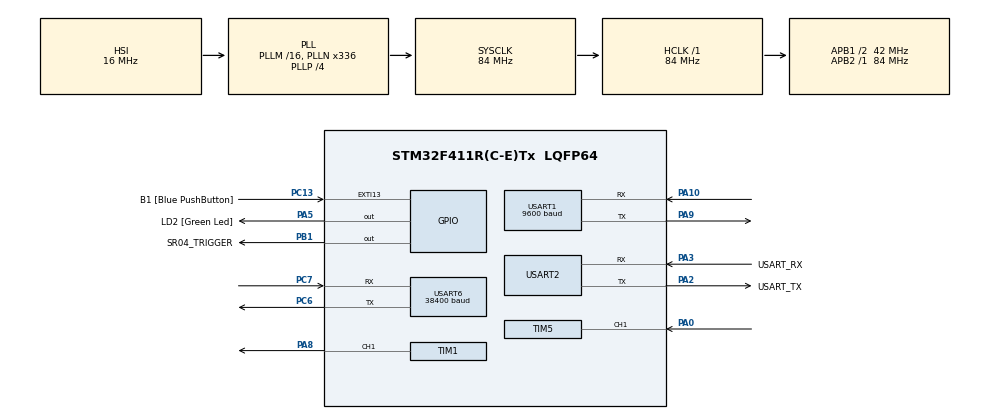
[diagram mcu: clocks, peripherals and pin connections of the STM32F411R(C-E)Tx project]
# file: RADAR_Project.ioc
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FREERTOS.Tasks01=oledTask,8,128,StartDefaultTask,Default,NULL,Dynamic,NULL,NULL;servoTask,40,1024,StartTask02,Default,NULL,Dynamic,NULL,NULL;btTask,24,128,StartTask03,Default,NULL,Dynamic,NULL,NULL
FREERTOS.configUSE_NEWLIB_REENTRANT=1
Mcu.Family=STM32F4
Mcu.Name=STM32F411R(C-E)Tx
Mcu.Package=LQFP64
NVIC.PriorityGroup=NVIC_PRIORITYGROUP_4
NVIC.TIM2_IRQn=true\:15\:0\:false\:false\:true\:false\:false\:true\:true
NVIC.TIM5_IRQn=true\:5\:0\:false\:false\:true\:true\:true\:true\:true
NVIC.TimeBase=TIM2_IRQn
NVIC.TimeBaseIP=TIM2
NVIC.USART1_IRQn=true\:5\:0\:false\:false\:true\:true\:true\:true\:true
NVIC.USART6_IRQn=true\:5\:0\:false\:false\:true\:true\:true\:true\:true
PA0-WKUP.GPIO_PuPd=GPIO_PULLDOWN
PA0-WKUP.Signal=S_TIM5_CH1
PA10.Mode=Asynchronous
PA10.Signal=USART1_RX
PA13.GPIO_Label=TMS
PA13.Mode=Serial_Wire
PA13.Signal=SYS_JTMS-SWDIO
PA14.GPIO_Label=TCK
PA14.Mode=Serial_Wire
PA14.Signal=SYS_JTCK-SWCLK
PA2.GPIO_Label=USART_TX
PA2.Mode=Asynchronous
PA2.Signal=USART2_TX
PA3.GPIO_Label=USART_RX
PA3.Mode=Asynchronous
PA3.Signal=USART2_RX
PA5.GPIO_Label=LD2 [Green Led]
PA5.Signal=GPIO_Output
PA8.Signal=S_TIM1_CH1
PA9.Mode=Asynchronous
PA9.Signal=USART1_TX
PB1.GPIO_Label=SR04_TRIGGER
PB1.Signal=GPIO_Output
PB3.GPIO_Label=SWO
PB3.Signal=SYS_JTDO-SWO
PC13-ANTI_TAMP.GPIO_Label=B1 [Blue PushButton]
PC13-ANTI_TAMP.GPIO_ModeDefaultEXTI=GPIO_MODE_IT_FALLING
PC13-ANTI_TAMP.Signal=GPXTI13
PC14-OSC32_IN.Mode=LSE-External-Oscillator
PC14-OSC32_IN.Signal=RCC_OSC32_IN
PC15-OSC32_OUT.Mode=LSE-External-Oscillator
PC15-OSC32_OUT.Signal=RCC_OSC32_OUT
PC6.Mode=Asynchronous
PC6.Signal=USART6_TX
PC7.Mode=Asynchronous
PC7.Signal=USART6_RX
PH0\ -\ OSC_IN.Mode=HSE-External-Clock-Source
PH0\ -\ OSC_IN.Signal=RCC_OSC_IN
PH1\ -\ OSC_OUT.Mode=HSE-External-Clock-Source
PH1\ -\ OSC_OUT.Signal=RCC_OSC_OUT
ProjectManager.HeapSize=0x200
ProjectManager.StackSize=0x400
ProjectManager.TargetToolchain=STM32CubeIDE
RCC.48MHZClocksFreq_Value=84000000
RCC.AHBFreq_Value=84000000
RCC.APB1CLKDivider=RCC_HCLK_DIV2
RCC.APB1Freq_Value=42000000
RCC.APB1TimFreq_Value=84000000
RCC.APB2Freq_Value=84000000
RCC.APB2TimFreq_Value=84000000
RCC.CortexFreq_Value=84000000
RCC.FLatency-AdvancedSettings=FLASH_LATENCY_2
RCC.HCLKFreq_Value=84000000
RCC.HSE_VALUE=8000000
RCC.HSI_VALUE=16000000
RCC.PLLN=336
RCC.PLLP=RCC_PLLP_DIV4
RCC.SYSCLKFreq_VALUE=84000000
RCC.SYSCLKSource=RCC_SYSCLKSOURCE_PLLCLK
RCC.VCOOutputFreq_Value=336000000
SH.S_TIM1_CH1.0=TIM1_CH1,PWM Generation1 CH1
SH.S_TIM5_CH1.0=TIM5_CH1,Input_Capture1_from_TI1
TIM1.AutoReloadPreload=TIM_AUTORELOAD_PRELOAD_ENABLE
TIM1.Channel-PWM\ Generation1\ CH1=TIM_CHANNEL_1
TIM1.Period=19999
TIM1.Prescaler=83
TIM5.Channel-Input_Capture1_from_TI1=TIM_CHANNEL_1
TIM5.Channel-Input_Capture2_from_TI1_63=TIM_CHANNEL_2
TIM5.ICFilter_CH1=8
TIM5.ICPolarity_CH2=TIM_INPUTCHANNELPOLARITY_FALLING
TIM5.Prescaler=83
USART1.BaudRate=9600
USART1.VirtualMode=VM_ASYNC
USART2.VirtualMode=VM_ASYNC
USART6.BaudRate=38400
USART6.VirtualMode=VM_ASYNC
VP_FREERTOS_VS_CMSIS_V2.Mode=CMSIS_V2
VP_SYS_VS_tim2.Mode=TIM2
VP_TIM5_VS_indirect_ch1.Mode=Input_Capture2_from_TI1_63
board=NUCLEO-F411RE

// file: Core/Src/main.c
/* USER CODE BEGIN Header */
/**
 ******************************************************************************
 * @file           : main.c
 * @brief          : Main program body
 ******************************************************************************
 * @attention
 *
 * Copyright (c) 2025 STMicroelectronics.
 * All rights reserved.
 *
 * This software is licensed under terms that can be found in the LICENSE file
 * in the root directory of this software component.
 * If no LICENSE file comes with this software, it is provided AS-IS.
 *
 ******************************************************************************
 */
/* USER CODE END Header */
#include "main.h"
#include "cmsis_os.h"

/* USER CODE BEGIN Includes */
#include <stdio.h>
#include <math.h>
#include <string.h>
#include <stdarg.h>
#include "esp.h"

/* USER CODE END Includes */

/* USER CODE BEGIN PTD */
extern TIM_HandleTypeDef htim1;
#ifdef __GNUC__
/* With GCC, small printf (option LD Linker->Libraries->Small printf
   set to 'Yes') calls __io_putchar() */
#define PUTCHAR_PROTOTYPE int __io_putchar(int ch)
#else
#define PUTCHAR_PROTOTYPE int fputc(int ch, FILE *f)
#endif /* __GNUC__ */
#define ARR_CNT 5
#define CMD_SIZE 50
/* USER CODE END PTD */

/* USER CODE BEGIN PD */

/*디버그 모드*/
#define DEBUG_MODE 1

/*파이*/
#define PI 3.14159

/*서보모터 관련 설정*/

	//서보모터 각도 MIN, MAX값
#define SERVO_MIN 500
#define SERVO_MAX 2500

	//몇 도씩 스캔을 할 것인지
#define SCAN_DGREE 10

/*SR04 관련 설정*/

	//SR04관련 필터
#define SR04_TIMEOUT 100 //SR04 무응답 타임아웃 (단위 ms)
#define SR04_MAX_US_HW 25000 //초음파 돌아오는 시간의 최대값
#define SR04_MIN_US 120 //초음파 돌아오는 시간의 최솟값

	//각도당 스캔을 몇 번 할지
#define SCAN_CNT 5

	//탐색 모드에서 얼마나 탐색하고 지형지물을 업데이트 할지(숫자만큼 스캔하고 다시 지형지물 업데이트)
#define SCAN_TICK 5

	//몇 cm 까지 스캔 할 것인지
#define MAX_SCAN_CM 200

/* USER CODE END PD */

TIM_HandleTypeDef htim1;
TIM_HandleTypeDef htim5;

UART_HandleTypeDef huart1;
UART_HandleTypeDef huart2;
UART_HandleTypeDef huart6;

/* Definitions for oledTask */
osThreadId_t oledTaskHandle;
const osThreadAttr_t oledTask_attributes = {
  .name = "oledTask",
  .stack_size = 128 * 4,
  .priority = (osPriority_t) osPriorityLow,
};
/* Definitions for servoTask */
osThreadId_t servoTaskHandle;
const osThreadAttr_t servoTask_attributes = {
  .name = "servoTask",
  .stack_size = 1024 * 4,
  .priority = (osPriority_t) osPriorityHigh,
};
/* Definitions for btTask */
osThreadId_t btTaskHandle;
const osThreadAttr_t btTask_attributes = {
  .name = "btTask",
  .stack_size = 128 * 4,
  .priority = (osPriority_t) osPriorityNormal,
};
/* USER CODE BEGIN PV */
volatile uint8_t sr04_state = 0;
volatile uint32_t ic_rising, ic_falling = 0;

typedef struct{
	double x;
	double y;
}Pos;

//모터의 각도
int degree = 0;
//측정한 거리
double distance = -1.0;
//계산한 각도
Pos pos;

uint8_t find_flag = 0;

//스캔 모드
typedef enum{
	get_landform,
	scan_object
}RADAR_STATE;

//모드 선언
volatile RADAR_STATE radar_state = get_landform;

//모든 각도의 지형지물 거리 값
double landform_data[(180 /  SCAN_DGREE)+ 1];

double scan_buffer[SCAN_CNT];

//ESP01 와이파이 모듈 관련 변수
uint8_t rx2char;
extern cb_data_t cb_data;
extern volatile unsigned char rx2Flag;
extern volatile char rx2Data[50];
char sendBuf[MAX_UART_COMMAND_LEN]={0};

//ESP01 태스크 큐
#define TXMSG_MAX 128

typedef struct{
	uint16_t len;
	char payload[TXMSG_MAX];
}TxMsg;

osMessageQueueId_t txQHandle;
const osMessageQueueAttr_t txQ_attributes = {
  .name = "txQ"
};

volatile uint8_t shoot_flag = 0;
char strBuff[MAX_ESP_COMMAND_LEN];
extern volatile unsigned char rx2Flag;
extern volatile char rx2Data[50];
extern cb_data_t cb_data;

/* USER CODE END PV */

void SystemClock_Config(void);
static void MX_GPIO_Init(void);
static void MX_TIM1_Init(void);
static void MX_USART2_UART_Init(void);
static void MX_TIM5_Init(void);
static void MX_USART1_UART_Init(void);
static void MX_USART6_UART_Init(void);
void StartDefaultTask(void *argument);
void StartTask02(void *argument);
void StartTask03(void *argument);

/* USER CODE BEGIN PFP */
uint16_t angle_to_ccr(int angle);
static inline void sr04_trigger_pulse();
void sr04_start_measure();
double sr04_read_cm_rtos(TickType_t timeout_ticks);
static inline void dwt_init(void);
static inline void delay_us(uint32_t us);
void calculate_degree(Pos *pos, double distance, int angle);
void scan_landform();
/* USER CODE END PFP */

/* USER CODE BEGIN 0 */

void esp_event(char * recvBuf)
{
  int i=0;
  char * pToken;
  char * pArray[ARR_CNT]={0};

  strBuff[strlen(recvBuf)-1] = '\0';	//'\n' cut
  printf("\r\nDebug recv : %s\r\n",recvBuf);

  pToken = strtok(recvBuf,"[@]");
  while(pToken != NULL)
  {
    pArray[i] = pToken;
    if(++i >= ARR_CNT)
      break;
    pToken = strtok(NULL,"[@]");
  }

  if(!strcmp(pArray[1],"OK"))
  {
  	shoot_flag = 1;
  }
  else if(!strncmp(pArray[1]," New conn",8))
  {
//	   printf("Debug : %s, %s\r\n",pArray[0],pArray[1]);
     return;
  }
  else if(!strncmp(pArray[1]," Already log",8))
  {
// 	    printf("Debug : %s, %s\r\n",pArray[0],pArray[1]);
	  esp_client_conn();
      return;
  }
  else
      return;

}

void calculate_degree(Pos *pos, double distance, int angle) {

	if (distance <= 0.0) {
		pos->x = 0.0;
		pos->y = 0.0;
		return;
	} // out-of-range 보호
	if (angle < 0)
		angle = 0;
	if (angle > 180)
		angle = 180;

	double rad = angle * (PI / 180.0);

	// 0°→x=-d, y=0 / 90°→x=0, y=+d / 180°→x=+d, y=0
	pos->x = distance * cos(rad); // before -distance
	pos->y = distance * sin(rad);

	// 부동소수 오차로 -0.0000이 찍히는 것 방지(선택)
	if (fabs(pos->x) < 1e-9)
		pos->x = 0.0;
	if (fabs(pos->y) < 1e-9)
		pos->y = 0.0;
}

// DWT 사이클 카운터 활성화 (부팅 후 1회)
static inline void dwt_init(void)
{
    // Trace enable
    CoreDebug->DEMCR |= CoreDebug_DEMCR_TRCENA_Msk;
    // Reset counter
    DWT->CYCCNT = 0;
    // Enable cycle counter
    DWT->CTRL |= DWT_CTRL_CYCCNTENA_Msk;
}

// 마이크로초 지연 (busy-wait)
static inline void delay_us(uint32_t us)
{
    uint32_t start = DWT->CYCCNT;
    uint32_t ticks = (SystemCoreClock / 1000000U) * us; // 1us당 사이클 수
    while ((DWT->CYCCNT - start) < ticks) { __NOP(); }
}

uint16_t angle_to_ccr(int angle){
	if(angle < 0) angle = 0;
	if(angle > 180) angle = 180;
	return SERVO_MIN + (SERVO_MAX - SERVO_MIN) * angle / 180;
}

static inline void sr04_trigger_pulse(){
	//PB1 10us HIGH 유지
	HAL_GPIO_WritePin(SR04_TRIGGER_GPIO_Port, SR04_TRIGGER_Pin, GPIO_PIN_RESET);
	delay_us(2);
	HAL_GPIO_WritePin(SR04_TRIGGER_GPIO_Port, SR04_TRIGGER_Pin, GPIO_PIN_SET);
	delay_us(10);
	HAL_GPIO_WritePin(SR04_TRIGGER_GPIO_Port, SR04_TRIGGER_Pin, GPIO_PIN_RESET);
}

void sr04_start_measure(){
	//sr04 상태 변수 초기화
	sr04_state &= ~(0x03);
	//TIM5 CNT값 0으로 초기화
	__HAL_TIM_SET_COUNTER(&htim5, 0);

	//입력 캡쳐 인터럽트 모드 시작
	HAL_TIM_IC_Start_IT(&htim5, TIM_CHANNEL_1); // 라이징 엣지
	HAL_TIM_IC_Start_IT(&htim5, TIM_CHANNEL_2); // 폴링 엣지

	//트리거 활성화
	sr04_trigger_pulse();
}

double sr04_read_cm_rtos(TickType_t timeout_ticks){

	sr04_start_measure();

	TickType_t start = xTaskGetTickCount();
	for(;;){
		//라이징, 폴링 엣지 모두 측정되면 break
		if((sr04_state & 0x03) == 0x03) break;

		//타임아웃
		if((xTaskGetTickCount() - start) > timeout_ticks){
			HAL_TIM_IC_Stop_IT(&htim5, TIM_CHANNEL_1);
			HAL_TIM_IC_Stop_IT(&htim5, TIM_CHANNEL_2);
			return -1.0;
		}
		vTaskDelay(1);
	}

	//타이머 인터럽트 종료
	HAL_TIM_IC_Stop_IT(&htim5, TIM_CHANNEL_1);
	HAL_TIM_IC_Stop_IT(&htim5, TIM_CHANNEL_2);

	uint32_t width_us = (uint32_t)(ic_falling - ic_rising);

	if (width_us < SR04_MIN_US || width_us > SR04_MAX_US_HW)
		return -1.0;

	double cm = (double) width_us * 0.01715;   // 왕복시간→거리(cm)
	if (cm > MAX_SCAN_CM)
		return -1.0;
	return cm;
	//return (double)width_us * 0.01715f;

}

static void bubble_sort(double arr[], int n){
	for(int i = 0; i < n - 1; i++){
		for(int j = 0; j < n - 1 - i; j++){
			if(arr[j] > arr[j + 1]){
				double temp = arr[j];
				arr[j] = arr[j + 1];
				arr[j + 1] = temp;
			}
		}
	}
}

void scan_landform() {
	//한 방위 5번 스캔
	for (int i = 0; i < SCAN_CNT; i++) {
		scan_buffer[i] = sr04_read_cm_rtos(pdMS_TO_TICKS(SR04_TIMEOUT));
	}

	//스캔한 거리값 데이터 정렬
	bubble_sort(scan_buffer, SCAN_CNT);

	//중앙값 추출 후 지형 데이터에 추가
	double value = scan_buffer[SCAN_CNT / 2];
	if(value == -1.0){
		for(int i = SCAN_CNT / 2 + 1; i < SCAN_CNT; i++){
			if(scan_buffer[i] != -1.0){
				value = scan_buffer[i];
				break;
			}
		}
	}
	landform_data[degree / SCAN_DGREE] = value;
}

void find_object() {

	//한 방위 5번 스캔
	for (int i = 0; i < SCAN_CNT; i++) {
		scan_buffer[i] = sr04_read_cm_rtos(pdMS_TO_TICKS(SR04_TIMEOUT));
	}
	//스캔한 거리값 데이터 정렬
	bubble_sort(scan_buffer, SCAN_CNT);

	//스캔 데이터 추출
	double value = scan_buffer[SCAN_CNT / 2];

	if(value == -1.0){
		for(int i = SCAN_CNT / 2 + 1; i < SCAN_CNT; i++){
			if(scan_buffer[i] != -1.0){
				value = scan_buffer[i];
				break;
			}
		}
	}

	distance = value;
	if(distance < 0.0) return;

	//지형지물 데이터에서 일정 범위 벗어난 측정이면
	if (landform_data[degree / SCAN_DGREE] - 10.0 > distance || distance > landform_data[degree / SCAN_DGREE] + 10.0) {
		//그 물체의 거리 계산
		calculate_degree(&pos, distance, degree);

		find_flag = 1;

	}
}
/* USER CODE END 0 */

int main(void)
{

  /* USER CODE BEGIN 1 */
	int ret = 0;
  /* USER CODE END 1 */

  /* MCU Configuration--------------------------------------------------------*/

  /* Reset of all peripherals, Initializes the Flash interface and the Systick. */
  HAL_Init();

  /* Configure the system clock */
  SystemClock_Config();

  /* Initialize all configured peripherals */
	MX_GPIO_Init();
	MX_TIM1_Init();
	MX_USART2_UART_Init();
	MX_TIM5_Init();
	MX_USART1_UART_Init();
	MX_USART6_UART_Init();
	/* USER CODE BEGIN 2 */
	dwt_init();
	HAL_TIM_PWM_Start(&htim1, TIM_CHANNEL_1);

	//ESP01 와이파이 접속
	printf("Start main() - wifi\r\n");
	//ret |= drv_uart_init();
	ret |= drv_esp_init();
	if (ret != 0) {
		printf("Esp response error\r\n");
		Error_Handler();

	}

	AiotClient_Init();
	txQHandle = osMessageQueueNew(10, sizeof(TxMsg), &txQ_attributes);
  /* USER CODE END 2 */

  /* Init scheduler */
  osKernelInitialize();

  /* Create the thread(s) */
  /* creation of oledTask */
  oledTaskHandle = osThreadNew(StartDefaultTask, NULL, &oledTask_attributes);

  /* creation of servoTask */
  servoTaskHandle = osThreadNew(StartTask02, NULL, &servoTask_attributes);

  /* creation of btTask */
  btTaskHandle = osThreadNew(StartTask03, NULL, &btTask_attributes);

  /* Start scheduler */
  osKernelStart();

  /* We should never get here as control is now taken by the scheduler */

  /* Infinite loop */
	while (1) {

	}
}

void SystemClock_Config(void)
{
  RCC_OscInitTypeDef RCC_OscInitStruct = {0};
  RCC_ClkInitTypeDef RCC_ClkInitStruct = {0};

  /** Configure the main internal regulator output voltage
  */
  __HAL_RCC_PWR_CLK_ENABLE();
  __HAL_PWR_VOLTAGESCALING_CONFIG(PWR_REGULATOR_VOLTAGE_SCALE1);

  /** Initializes the RCC Oscillators according to the specified parameters
  * in the RCC_OscInitTypeDef structure.
  */
  RCC_OscInitStruct.OscillatorType = RCC_OSCILLATORTYPE_HSI;
  RCC_OscInitStruct.HSIState = RCC_HSI_ON;
  RCC_OscInitStruct.HSICalibrationValue = RCC_HSICALIBRATION_DEFAULT;
  RCC_OscInitStruct.PLL.PLLState = RCC_PLL_ON;
  RCC_OscInitStruct.PLL.PLLSource = RCC_PLLSOURCE_HSI;
  RCC_OscInitStruct.PLL.PLLM = 16;
  RCC_OscInitStruct.PLL.PLLN = 336;
  RCC_OscInitStruct.PLL.PLLP = RCC_PLLP_DIV4;
  RCC_OscInitStruct.PLL.PLLQ = 4;
  if (HAL_RCC_OscConfig(&RCC_OscInitStruct) != HAL_OK)
  {
    Error_Handler();
  }

  /** Initializes the CPU, AHB and APB buses clocks
  */
  RCC_ClkInitStruct.ClockType = RCC_CLOCKTYPE_HCLK|RCC_CLOCKTYPE_SYSCLK
                              |RCC_CLOCKTYPE_PCLK1|RCC_CLOCKTYPE_PCLK2;
  RCC_ClkInitStruct.SYSCLKSource = RCC_SYSCLKSOURCE_PLLCLK;
  RCC_ClkInitStruct.AHBCLKDivider = RCC_SYSCLK_DIV1;
  RCC_ClkInitStruct.APB1CLKDivider = RCC_HCLK_DIV2;
  RCC_ClkInitStruct.APB2CLKDivider = RCC_HCLK_DIV1;

  if (HAL_RCC_ClockConfig(&RCC_ClkInitStruct, FLASH_LATENCY_2) != HAL_OK)
  {
    Error_Handler();
  }
}

static void MX_TIM1_Init(void)
{

  TIM_MasterConfigTypeDef sMasterConfig = {0};
  TIM_OC_InitTypeDef sConfigOC = {0};
  TIM_BreakDeadTimeConfigTypeDef sBreakDeadTimeConfig = {0};

  htim1.Instance = TIM1;
  htim1.Init.Prescaler = 83;
  htim1.Init.CounterMode = TIM_COUNTERMODE_UP;
  htim1.Init.Period = 19999;
  htim1.Init.ClockDivision = TIM_CLOCKDIVISION_DIV1;
  htim1.Init.RepetitionCounter = 0;
  htim1.Init.AutoReloadPreload = TIM_AUTORELOAD_PRELOAD_ENABLE;
  if (HAL_TIM_PWM_Init(&htim1) != HAL_OK)
  {
    Error_Handler();
  }
  sMasterConfig.MasterOutputTrigger = TIM_TRGO_RESET;
  sMasterConfig.MasterSlaveMode = TIM_MASTERSLAVEMODE_DISABLE;
  if (HAL_TIMEx_MasterConfigSynchronization(&htim1, &sMasterConfig) != HAL_OK)
  {
    Error_Handler();
  }
  sConfigOC.OCMode = TIM_OCMODE_PWM1;
  sConfigOC.Pulse = 0;
  sConfigOC.OCPolarity = TIM_OCPOLARITY_HIGH;
  sConfigOC.OCNPolarity = TIM_OCNPOLARITY_HIGH;
  sConfigOC.OCFastMode = TIM_OCFAST_DISABLE;
  sConfigOC.OCIdleState = TIM_OCIDLESTATE_RESET;
  sConfigOC.OCNIdleState = TIM_OCNIDLESTATE_RESET;
  if (HAL_TIM_PWM_ConfigChannel(&htim1, &sConfigOC, TIM_CHANNEL_1) != HAL_OK)
  {
    Error_Handler();
  }
  sBreakDeadTimeConfig.OffStateRunMode = TIM_OSSR_DISABLE;
  sBreakDeadTimeConfig.OffStateIDLEMode = TIM_OSSI_DISABLE;
  sBreakDeadTimeConfig.LockLevel = TIM_LOCKLEVEL_OFF;
  sBreakDeadTimeConfig.DeadTime = 0;
  sBreakDeadTimeConfig.BreakState = TIM_BREAK_DISABLE;
  sBreakDeadTimeConfig.BreakPolarity = TIM_BREAKPOLARITY_HIGH;
  sBreakDeadTimeConfig.AutomaticOutput = TIM_AUTOMATICOUTPUT_DISABLE;
  if (HAL_TIMEx_ConfigBreakDeadTime(&htim1, &sBreakDeadTimeConfig) != HAL_OK)
  {
    Error_Handler();
  }
  HAL_TIM_MspPostInit(&htim1);

}

static void MX_TIM5_Init(void)
{

  TIM_MasterConfigTypeDef sMasterConfig = {0};
  TIM_IC_InitTypeDef sConfigIC = {0};

  htim5.Instance = TIM5;
  htim5.Init.Prescaler = 83;
  htim5.Init.CounterMode = TIM_COUNTERMODE_UP;
  htim5.Init.Period = 4294967295;
  htim5.Init.ClockDivision = TIM_CLOCKDIVISION_DIV1;
  htim5.Init.AutoReloadPreload = TIM_AUTORELOAD_PRELOAD_DISABLE;
  if (HAL_TIM_IC_Init(&htim5) != HAL_OK)
  {
    Error_Handler();
  }
  sMasterConfig.MasterOutputTrigger = TIM_TRGO_RESET;
  sMasterConfig.MasterSlaveMode = TIM_MASTERSLAVEMODE_DISABLE;
  if (HAL_TIMEx_MasterConfigSynchronization(&htim5, &sMasterConfig) != HAL_OK)
  {
    Error_Handler();
  }
  sConfigIC.ICPolarity = TIM_INPUTCHANNELPOLARITY_RISING;
  sConfigIC.ICSelection = TIM_ICSELECTION_DIRECTTI;
  sConfigIC.ICPrescaler = TIM_ICPSC_DIV1;
  sConfigIC.ICFilter = 8;
  if (HAL_TIM_IC_ConfigChannel(&htim5, &sConfigIC, TIM_CHANNEL_1) != HAL_OK)
  {
    Error_Handler();
  }
  sConfigIC.ICPolarity = TIM_INPUTCHANNELPOLARITY_FALLING;
  sConfigIC.ICSelection = TIM_ICSELECTION_INDIRECTTI;
  sConfigIC.ICFilter = 0;
  if (HAL_TIM_IC_ConfigChannel(&htim5, &sConfigIC, TIM_CHANNEL_2) != HAL_OK)
  {
    Error_Handler();
  }

}

static void MX_USART1_UART_Init(void)
{

  huart1.Instance = USART1;
  huart1.Init.BaudRate = 9600;
  huart1.Init.WordLength = UART_WORDLENGTH_8B;
  huart1.Init.StopBits = UART_STOPBITS_1;
  huart1.Init.Parity = UART_PARITY_NONE;
  huart1.Init.Mode = UART_MODE_TX_RX;
  huart1.Init.HwFlowCtl = UART_HWCONTROL_NONE;
  huart1.Init.OverSampling = UART_OVERSAMPLING_16;
  if (HAL_UART_Init(&huart1) != HAL_OK)
  {
    Error_Handler();
  }

}

static void MX_USART2_UART_Init(void)
{

  huart2.Instance = USART2;
  huart2.Init.BaudRate = 115200;
  huart2.Init.WordLength = UART_WORDLENGTH_8B;
  huart2.Init.StopBits = UART_STOPBITS_1;
  huart2.Init.Parity = UART_PARITY_NONE;
  huart2.Init.Mode = UART_MODE_TX_RX;
  huart2.Init.HwFlowCtl = UART_HWCONTROL_NONE;
  huart2.Init.OverSampling = UART_OVERSAMPLING_16;
  if (HAL_UART_Init(&huart2) != HAL_OK)
  {
    Error_Handler();
  }

}

static void MX_USART6_UART_Init(void)
{

  huart6.Instance = USART6;
  huart6.Init.BaudRate = 38400;
  huart6.Init.WordLength = UART_WORDLENGTH_8B;
  huart6.Init.StopBits = UART_STOPBITS_1;
  huart6.Init.Parity = UART_PARITY_NONE;
  huart6.Init.Mode = UART_MODE_TX_RX;
  huart6.Init.HwFlowCtl = UART_HWCONTROL_NONE;
  huart6.Init.OverSampling = UART_OVERSAMPLING_16;
  if (HAL_UART_Init(&huart6) != HAL_OK)
  {
    Error_Handler();
  }

}

static void MX_GPIO_Init(void)
{
  GPIO_InitTypeDef GPIO_InitStruct = {0};

  /* GPIO Ports Clock Enable */
  __HAL_RCC_GPIOC_CLK_ENABLE();
  __HAL_RCC_GPIOH_CLK_ENABLE();
  __HAL_RCC_GPIOA_CLK_ENABLE();
  __HAL_RCC_GPIOB_CLK_ENABLE();

  /*Configure GPIO pin Output Level */
  HAL_GPIO_WritePin(LD2_GPIO_Port, LD2_Pin, GPIO_PIN_RESET);

  /*Configure GPIO pin Output Level */
  HAL_GPIO_WritePin(SR04_TRIGGER_GPIO_Port, SR04_TRIGGER_Pin, GPIO_PIN_RESET);

  /*Configure GPIO pin : B1_Pin */
  GPIO_InitStruct.Pin = B1_Pin;
  GPIO_InitStruct.Mode = GPIO_MODE_IT_FALLING;
  GPIO_InitStruct.Pull = GPIO_NOPULL;
  HAL_GPIO_Init(B1_GPIO_Port, &GPIO_InitStruct);

  /*Configure GPIO pin : LD2_Pin */
  GPIO_InitStruct.Pin = LD2_Pin;
  GPIO_InitStruct.Mode = GPIO_MODE_OUTPUT_PP;
  GPIO_InitStruct.Pull = GPIO_NOPULL;
  GPIO_InitStruct.Speed = GPIO_SPEED_FREQ_LOW;
  HAL_GPIO_Init(LD2_GPIO_Port, &GPIO_InitStruct);

  /*Configure GPIO pin : SR04_TRIGGER_Pin */
  GPIO_InitStruct.Pin = SR04_TRIGGER_Pin;
  GPIO_InitStruct.Mode = GPIO_MODE_OUTPUT_PP;
  GPIO_InitStruct.Pull = GPIO_NOPULL;
  GPIO_InitStruct.Speed = GPIO_SPEED_FREQ_LOW;
  HAL_GPIO_Init(SR04_TRIGGER_GPIO_Port, &GPIO_InitStruct);

}

/* USER CODE BEGIN 4 */
void HAL_TIM_IC_CaptureCallback(TIM_HandleTypeDef *htim)
{
	//TIM5가 아니면 return
    if (htim->Instance != TIM5) return;

    if (htim->Channel == HAL_TIM_ACTIVE_CHANNEL_1) {
        ic_rising = HAL_TIM_ReadCapturedValue(htim, TIM_CHANNEL_1);
        //__HAL_TIM_SET_COUNTER(htim, 0);
        sr04_state |= 0x01;
    } else if (htim->Channel == HAL_TIM_ACTIVE_CHANNEL_2) {
        ic_falling = HAL_TIM_ReadCapturedValue(htim, TIM_CHANNEL_2);
        sr04_state |= 0x02;
    }
}
/* USER CODE END 4 */

void StartDefaultTask(void *argument)
{
	for (;;) {
		osDelay(1);
	}
}

void StartTask02(void *argument)
{
  /* USER CODE BEGIN StartTask02 */

	static uint8_t scan_tick = 0;

	/* Infinite loop */
	for (;;) {

		//거리 측정
		__HAL_TIM_SET_COMPARE(&htim1, TIM_CHANNEL_1, angle_to_ccr(degree));
		vTaskDelay(pdMS_TO_TICKS(100)); // 서보 정착시간(옵션, 10~20ms 권장)

		switch (radar_state) {
			case get_landform:
				scan_landform();
#if DEBUG_MODE
				if (radar_state == get_landform && (degree % 10) == 0) {
					char b[48];
					int len = snprintf(b, sizeof(b), "[cal] deg=%3d, dist = %.2f\n", degree, landform_data[degree / SCAN_DGREE]);
					HAL_UART_Transmit(&huart2, (uint8_t*)b, len, 50);
				}
#endif

				break;

			case scan_object:

				find_object();
				if (find_flag == 1) {

					sprintf(sendBuf, "[%s]%.2f@%.2f\n", "TURRET_1", pos.x, pos.y);
					esp_send_data(sendBuf);
					vTaskDelay(pdMS_TO_TICKS(5));
					memset(sendBuf, 0, sizeof(sendBuf));
					sprintf(sendBuf, "[%s]SETDB@%s@%.2f,%.2f\n", "SQL", "RADAR", pos.x, pos.y);
					esp_send_data(sendBuf);
					vTaskDelay(pdMS_TO_TICKS(5));
					memset(sendBuf, 0, sizeof(sendBuf));
					sprintf(sendBuf, "[%s]%.2f@%.2f\n", "13", pos.x, pos.y);
					esp_send_data(sendBuf);

					while(shoot_flag == 0){
						vTaskDelay(5);  // 한 틱 양보: busy-wait 방지
					}
					shoot_flag = 0;

#if DEBUG_MODE
					char buffer[128];
					if (distance < 0.0) {
						int len = snprintf(buffer, sizeof(buffer), "deg=%3d, dist=out-of-range\r\n", degree);
						HAL_UART_Transmit(&huart2, (uint8_t*) buffer, len, HAL_MAX_DELAY);
					} else {
						int len = snprintf(buffer, sizeof(buffer), "deg=%3d, landform =%.2f cm, dist=%.2f cm, xPos=%.2f cm, yPos=%.2f cm\r\n", degree, landform_data[degree / SCAN_DGREE], distance, pos.x,
								pos.y);
						HAL_UART_Transmit(&huart2, (uint8_t*) buffer, len, HAL_MAX_DELAY);
					}
#endif
					find_flag = 0;
				}

				break;

		}

		//각도 변환 및 상태 변경
		if ((sr04_state & 0x04) == 0x00) {
			degree += SCAN_DGREE;
			//180도에 도달하면
			if (degree >= 180) {
				//상태 플래그 변경(degree 증가로)
				degree = 180;
				sr04_state |= 0x04;
			}
		}
		else if ((sr04_state & 0x04) == 0x04) {
			degree -= SCAN_DGREE;
			//0도에 도달하면
			if (degree <= 0) {
				//상태 플래그 변경(degree 감소로)
				degree = 0;
				sr04_state &= ~(0x04);
				//만약 지형지물 탐색을 한 번 완료했으면
				if (radar_state == get_landform)
					//일반 탐색 모드로 변경
					radar_state = scan_object;

				//일반 탐색 모드이면
				else if (radar_state == scan_object)
					//스캔 틱 1씩 증가
					scan_tick++;
			}

			if (scan_tick > SCAN_TICK) {
				scan_tick = 0;
				radar_state = get_landform;
				//memset(landform_data, 0, sizeof(landform_data));
			}
		}

		vTaskDelay(pdMS_TO_TICKS(50));
	}
  /* USER CODE END StartTask02 */
}

void StartTask03(void *argument) {
	/* USER CODE BEGIN StartTask03 */

	/* Infinite loop */
	for (;;) {
		if (strstr((char*) cb_data.buf, "+IPD") && cb_data.buf[cb_data.length - 1] == '\n') {
			strcpy(strBuff, strchr((char*) cb_data.buf, '['));
			memset(cb_data.buf, 0x0, sizeof(cb_data.buf));
			cb_data.length = 0;
			esp_event(strBuff);
		}
		if (rx2Flag) {
			printf("recv2 : %s\r\n", rx2Data);
			rx2Flag = 0;
		}
		vTaskDelay(10);
	}

	/* USER CODE END StartTask03 */
}

void HAL_TIM_PeriodElapsedCallback(TIM_HandleTypeDef *htim)
{
  if (htim->Instance == TIM2)
  {
    HAL_IncTick();
  }
}

void Error_Handler(void)
{
	__disable_irq();
	while (1) {
	}
}
